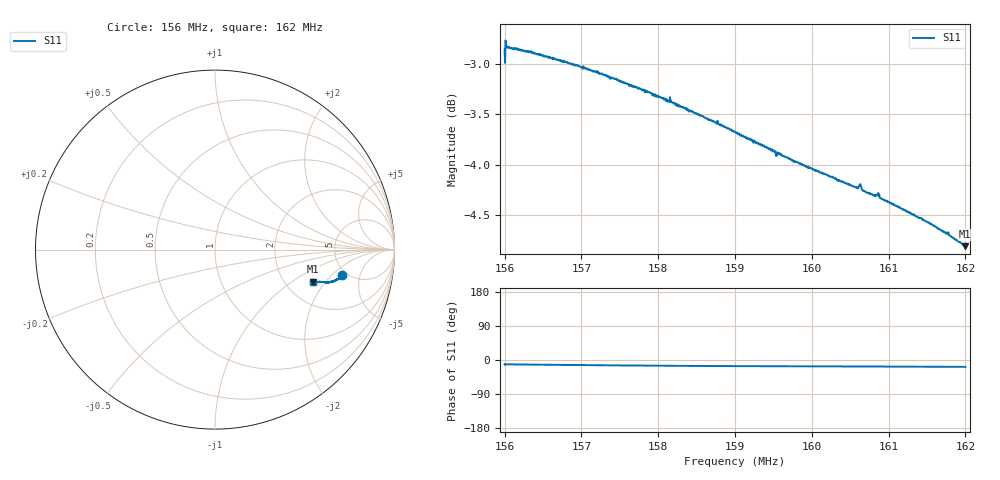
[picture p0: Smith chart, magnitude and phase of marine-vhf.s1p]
! Calibrated averaged scanner-service zoom
# Hz S RI R 50
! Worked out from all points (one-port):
!   1001 points, 156 MHz to 162 MHz, reference 50 ohm
!   lowest |S11| = -4.8 dB at 161.99 MHz (marker M1), VSWR 3.70, Z = 141 - j75.3 ohm
!   |S11| at or under -10 dB: nowhere
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1.56e8  0.7052 -0.1417
1.56036e8  0.7073 -0.1442
1.56042e8  0.7071 -0.1437
1.56054e8  0.7063 -0.1441
1.5633e8  0.7013 -0.1509
1.5675e8  0.6922 -0.1593
1.572e8  0.6811 -0.1671
1.575e8  0.6729 -0.1709
1.57878e8  0.6623 -0.1761
1.58118e8  0.6554 -0.1775
1.58184e8  0.6532 -0.1788
1.5825e8  0.6504 -0.178
1.58568e8  0.6419 -0.181
1.59e8  0.6292 -0.1823
1.5948e8  0.6157 -0.182
1.59546e8  0.6113 -0.1811
1.5975e8  0.6077 -0.1812
1.605e8  0.5893 -0.1802
1.60572e8  0.588 -0.1799
1.6062e8  0.5892 -0.1806
1.60698e8  0.5845 -0.1801
1.60806e8  0.5823 -0.1798
1.6086e8  0.5837 -0.1793
1.6092e8  0.5792 -0.1803
1.6125e8  0.5697 -0.1804
1.61748e8  0.5549 -0.18
1.61994e8  0.5462 -0.1793
1.62e8  0.5466 -0.1791
